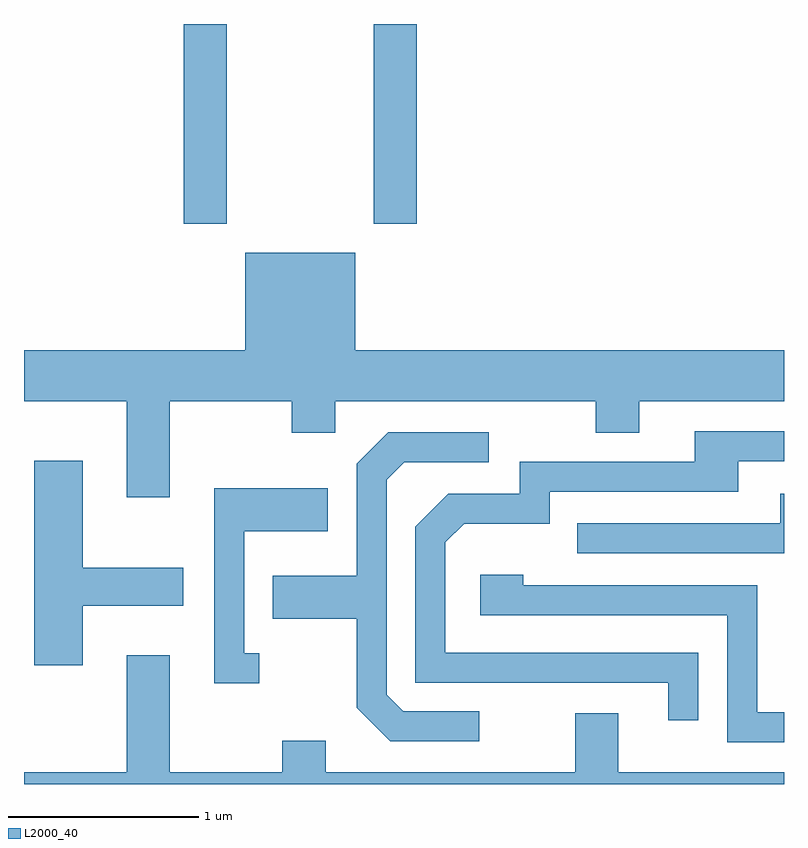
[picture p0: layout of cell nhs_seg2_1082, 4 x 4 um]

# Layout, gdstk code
import gdstk
lib = gdstk.Library(unit=1e-6, precision=1e-09)
def R(c, l, rs):  # rectangles x0, y0, x1, y1
    for r in rs: c.add(gdstk.rectangle(r[:2], r[2:], *l))
def P(c, l, *ps):  # polygons
    for p in ps: c.add(gdstk.Polygon(p, *l))
L2000_40 = (2000, 40)

nhs_seg2_1082 = lib.new_cell('nhs_seg2_1082')
R(nhs_seg2_1082, L2000_40, [(216.451,1104.751,216.679,1105.802), (217.451,1104.751,217.679,1105.802)])
P(nhs_seg2_1082, L2000_40, [(216.379,1103.816),(217.021,1103.816),(217.021,1103.651),(217.249,1103.651),(217.249,1103.816),(218.621,1103.816),(218.621,1103.651),(218.849,1103.651),(218.849,1103.816),(219.611,1103.816),(219.611,1104.084),(217.354,1104.084),(217.354,1104.599),(216.776,1104.599),(216.776,1104.084),(215.611,1104.084),(215.611,1103.816),(216.151,1103.816),(216.151,1103.311),(216.379,1103.311)],
  [(219.159,1102.494),(217.829,1102.494),(217.829,1103.074),(217.927,1103.171),(218.379,1103.171),(218.379,1103.341),(219.369,1103.341),(219.369,1103.501),(219.611,1103.501),(219.611,1103.659),(219.141,1103.659),(219.141,1103.499),(218.221,1103.499),(218.221,1103.329),(217.844,1103.329),(217.671,1103.157),(217.671,1102.336),(219.001,1102.336),(219.001,1102.138),(219.159,1102.138)],
  [(218.008,1102.184),(217.607,1102.184),(217.519,1102.272),(217.519,1103.404),(217.612,1103.496),(218.058,1103.496),(218.058,1103.654),(217.529,1103.654),(217.361,1103.487),(217.361,1102.899),(216.921,1102.899),(216.921,1102.671),(217.361,1102.671),(217.361,1102.204),(217.539,1102.026),(218.008,1102.026)],
  [(215.919,1102.741),(216.449,1102.741),(216.449,1102.939),(215.919,1102.939),(215.919,1103.504),(215.666,1103.504),(215.666,1102.426),(215.919,1102.426)],
  [(216.848,1102.489),(216.769,1102.489),(216.769,1103.131),(217.209,1103.131),(217.209,1103.359),(216.611,1103.359),(216.611,1102.331),(216.848,1102.331)],
  [(219.611,1103.329),(219.591,1103.329),(219.591,1103.174),(218.523,1103.174),(218.523,1103.016),(219.611,1103.016)],
  [(219.611,1102.179),(219.469,1102.179),(219.469,1102.849),(218.239,1102.849),(218.239,1102.904),(218.011,1102.904),(218.011,1102.691),(219.311,1102.691),(219.311,1102.021),(219.611,1102.021)],
  [(219.611,1101.864),(218.739,1101.864),(218.739,1102.174),(218.511,1102.174),(218.511,1101.864),(217.199,1101.864),(217.199,1102.029),(216.971,1102.029),(216.971,1101.864),(216.379,1101.864),(216.379,1102.479),(216.151,1102.479),(216.151,1101.864),(215.611,1101.864),(215.611,1101.802),(219.611,1101.802)])

lib.write_gds('nhs_seg2_1082.gds')
